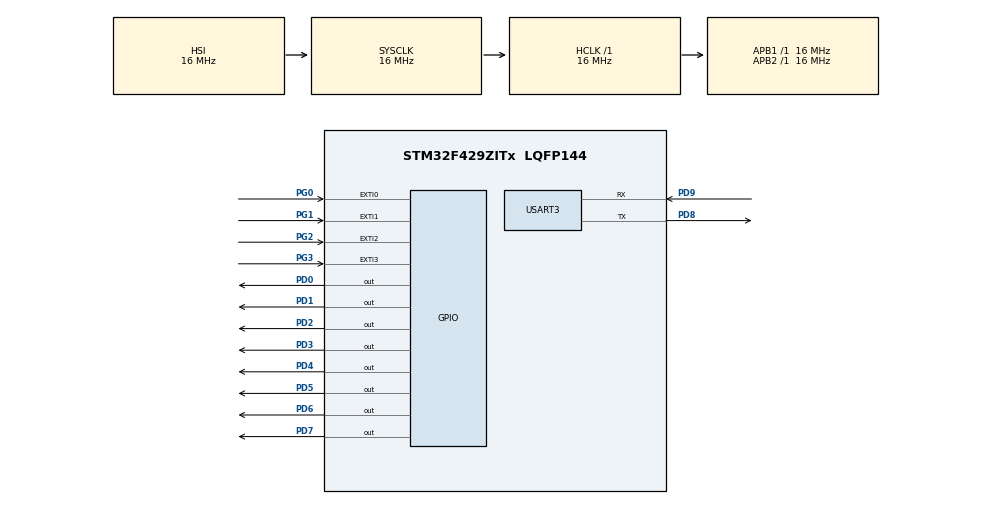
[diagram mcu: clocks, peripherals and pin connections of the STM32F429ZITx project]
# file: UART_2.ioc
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Mcu.Family=STM32F4
Mcu.Name=STM32F429ZITx
Mcu.Package=LQFP144
NVIC.EXTI0_IRQn=true\:0\:0\:false\:false\:true\:true\:true\:true
NVIC.EXTI1_IRQn=true\:0\:0\:false\:false\:true\:true\:true\:true
NVIC.EXTI2_IRQn=true\:0\:0\:false\:false\:true\:true\:true\:true
NVIC.EXTI3_IRQn=true\:0\:0\:false\:false\:true\:true\:true\:true
NVIC.PriorityGroup=NVIC_PRIORITYGROUP_4
NVIC.USART3_IRQn=true\:0\:0\:false\:false\:true\:true\:true\:true
PA13.Mode=Serial_Wire
PA13.Signal=SYS_JTMS-SWDIO
PA14.Mode=Serial_Wire
PA14.Signal=SYS_JTCK-SWCLK
PD0.GPIO_ModeDefaultOutputPP=GPIO_MODE_OUTPUT_PP
PD0.GPIO_PuPd=GPIO_PULLUP
PD0.GPIO_Speed=GPIO_SPEED_FREQ_HIGH
PD0.PinState=GPIO_PIN_RESET
PD0.Signal=GPIO_Output
PD1.GPIO_ModeDefaultOutputPP=GPIO_MODE_OUTPUT_PP
PD1.GPIO_PuPd=GPIO_PULLUP
PD1.GPIO_Speed=GPIO_SPEED_FREQ_HIGH
PD1.PinState=GPIO_PIN_RESET
PD1.Signal=GPIO_Output
PD2.GPIO_ModeDefaultOutputPP=GPIO_MODE_OUTPUT_PP
PD2.GPIO_PuPd=GPIO_PULLUP
PD2.GPIO_Speed=GPIO_SPEED_FREQ_HIGH
PD2.PinState=GPIO_PIN_RESET
PD2.Signal=GPIO_Output
PD3.GPIO_ModeDefaultOutputPP=GPIO_MODE_OUTPUT_PP
PD3.GPIO_PuPd=GPIO_PULLUP
PD3.GPIO_Speed=GPIO_SPEED_FREQ_HIGH
PD3.PinState=GPIO_PIN_RESET
PD3.Signal=GPIO_Output
PD4.GPIO_ModeDefaultOutputPP=GPIO_MODE_OUTPUT_PP
PD4.GPIO_PuPd=GPIO_PULLUP
PD4.GPIO_Speed=GPIO_SPEED_FREQ_HIGH
PD4.PinState=GPIO_PIN_RESET
PD4.Signal=GPIO_Output
PD5.GPIO_ModeDefaultOutputPP=GPIO_MODE_OUTPUT_PP
PD5.GPIO_PuPd=GPIO_PULLUP
PD5.GPIO_Speed=GPIO_SPEED_FREQ_HIGH
PD5.PinState=GPIO_PIN_RESET
PD5.Signal=GPIO_Output
PD6.GPIO_ModeDefaultOutputPP=GPIO_MODE_OUTPUT_PP
PD6.GPIO_PuPd=GPIO_PULLUP
PD6.GPIO_Speed=GPIO_SPEED_FREQ_HIGH
PD6.PinState=GPIO_PIN_RESET
PD6.Signal=GPIO_Output
PD7.GPIO_ModeDefaultOutputPP=GPIO_MODE_OUTPUT_PP
PD7.GPIO_PuPd=GPIO_PULLUP
PD7.GPIO_Speed=GPIO_SPEED_FREQ_HIGH
PD7.PinState=GPIO_PIN_RESET
PD7.Signal=GPIO_Output
PD8.Mode=Asynchronous
PD8.Signal=USART3_TX
PD9.Mode=Asynchronous
PD9.Signal=USART3_RX
PG0.GPIO_ModeDefaultEXTI=GPIO_MODE_IT_FALLING
PG0.GPIO_PuPd=GPIO_NOPULL
PG0.Signal=GPXTI0
PG1.GPIO_ModeDefaultEXTI=GPIO_MODE_IT_FALLING
PG1.GPIO_PuPd=GPIO_NOPULL
PG1.Signal=GPXTI1
PG2.GPIO_ModeDefaultEXTI=GPIO_MODE_IT_FALLING
PG2.GPIO_PuPd=GPIO_NOPULL
PG2.Signal=GPXTI2
PG3.GPIO_ModeDefaultEXTI=GPIO_MODE_IT_FALLING
PG3.GPIO_PuPd=GPIO_NOPULL
PG3.Signal=GPXTI3
ProjectManager.HeapSize=0x200
ProjectManager.StackSize=0x400
ProjectManager.TargetToolchain=STM32CubeIDE
RCC.AHBFreq_Value=16000000
RCC.APB1Freq_Value=16000000
RCC.APB2Freq_Value=16000000
RCC.CortexFreq_Value=16000000
RCC.HSE_VALUE=25000000
RCC.HSI_VALUE=16000000
RCC.LSE_VALUE=32768
RCC.SYSCLKFreq_VALUE=16000000
RCC.VCOOutputFreq_Value=192000000
USART3.VirtualMode=VM_ASYNC
board=custom

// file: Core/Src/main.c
/* USER CODE BEGIN Header */
/**
  ******************************************************************************
  * @file           : main.c
  * @brief          : Main program body
  ******************************************************************************
  * @attention
  *
  * Copyright (c) 2023 STMicroelectronics.
  * All rights reserved.
  *
  * This software is licensed under terms that can be found in the LICENSE file
  * in the root directory of this software component.
  * If no LICENSE file comes with this software, it is provided AS-IS.
  *
  ******************************************************************************
  */
/* USER CODE END Header */
#include "main.h"

/* USER CODE BEGIN PD */

#define TxBufferSize (countof(TxBuffer) - 1)
#define TxBufferSize_2 (countof(TxBuffer_2) - 1)
#define TxBufferSize_3 (countof(TxBuffer_3) - 1)
#define TxBufferSize_4 (countof(TxBuffer_4) - 1)
#define TxBufferSize_5 (countof(TxBuffer_5) - 1)
#define RxBufferSize 0xFF
#define countof(a) (sizeof(a) / sizeof(*(a)))

/* USER CODE END PD */

UART_HandleTypeDef huart3;

/* USER CODE BEGIN PV */

uint8_t TxBuffer[] = "\n\rUART Example 2 (Transmission Success !!)\n\r\n\r";
uint8_t TxBuffer_2[] = "\n\r Button1 is pressed !! \n\r";
uint8_t TxBuffer_3[] = "\n\r Button2 is pressed !! \n\r";
uint8_t TxBuffer_4[] = "\n\r Button3 is pressed !! \n\r";
uint8_t TxBuffer_5[] = "\n\r Button4 is pressed !! \n\r";
uint8_t RxBuffer[RxBufferSize];

/* USER CODE END PV */

void SystemClock_Config(void);
static void MX_GPIO_Init(void);
static void MX_USART3_UART_Init(void);
/* USER CODE BEGIN PFP */

void LED_OnOff(int, int);

/* USER CODE END PFP */

int main(void)
{

  /* MCU Configuration--------------------------------------------------------*/

  /* Reset of all peripherals, Initializes the Flash interface and the Systick. */
  HAL_Init();

  /* Configure the system clock */
  SystemClock_Config();

  /* Initialize all configured peripherals */
  MX_GPIO_Init();
  MX_USART3_UART_Init();
  /* USER CODE BEGIN 2 */

  LED_OnOff(LED_ALL, 500);
  HAL_UART_Transmit(&huart3, (uint8_t*)TxBuffer, TxBufferSize, 0xFFFF);

  /* USER CODE END 2 */

  /* Infinite loop */
  while (1)
  {

  }
}

void SystemClock_Config(void)
{
  RCC_OscInitTypeDef RCC_OscInitStruct = {0};
  RCC_ClkInitTypeDef RCC_ClkInitStruct = {0};

  /** Configure the main internal regulator output voltage
  */
  __HAL_RCC_PWR_CLK_ENABLE();
  __HAL_PWR_VOLTAGESCALING_CONFIG(PWR_REGULATOR_VOLTAGE_SCALE3);

  /** Initializes the RCC Oscillators according to the specified parameters
  * in the RCC_OscInitTypeDef structure.
  */
  RCC_OscInitStruct.OscillatorType = RCC_OSCILLATORTYPE_HSI;
  RCC_OscInitStruct.HSIState = RCC_HSI_ON;
  RCC_OscInitStruct.HSICalibrationValue = RCC_HSICALIBRATION_DEFAULT;
  RCC_OscInitStruct.PLL.PLLState = RCC_PLL_NONE;
  if (HAL_RCC_OscConfig(&RCC_OscInitStruct) != HAL_OK)
  {
    Error_Handler();
  }

  /** Initializes the CPU, AHB and APB buses clocks
  */
  RCC_ClkInitStruct.ClockType = RCC_CLOCKTYPE_HCLK|RCC_CLOCKTYPE_SYSCLK
                              |RCC_CLOCKTYPE_PCLK1|RCC_CLOCKTYPE_PCLK2;
  RCC_ClkInitStruct.SYSCLKSource = RCC_SYSCLKSOURCE_HSI;
  RCC_ClkInitStruct.AHBCLKDivider = RCC_SYSCLK_DIV1;
  RCC_ClkInitStruct.APB1CLKDivider = RCC_HCLK_DIV1;
  RCC_ClkInitStruct.APB2CLKDivider = RCC_HCLK_DIV1;

  if (HAL_RCC_ClockConfig(&RCC_ClkInitStruct, FLASH_LATENCY_0) != HAL_OK)
  {
    Error_Handler();
  }
}

static void MX_USART3_UART_Init(void)
{

  huart3.Instance = USART3;
  huart3.Init.BaudRate = 115200;
  huart3.Init.WordLength = UART_WORDLENGTH_8B;
  huart3.Init.StopBits = UART_STOPBITS_1;
  huart3.Init.Parity = UART_PARITY_NONE;
  huart3.Init.Mode = UART_MODE_TX_RX;
  huart3.Init.HwFlowCtl = UART_HWCONTROL_NONE;
  huart3.Init.OverSampling = UART_OVERSAMPLING_16;
  if (HAL_UART_Init(&huart3) != HAL_OK)
  {
    Error_Handler();
  }

}

static void MX_GPIO_Init(void)
{
  GPIO_InitTypeDef GPIO_InitStruct = {0};

  /* GPIO Ports Clock Enable */
  __HAL_RCC_GPIOG_CLK_ENABLE();
  __HAL_RCC_GPIOD_CLK_ENABLE();
  __HAL_RCC_GPIOA_CLK_ENABLE();

  /*Configure GPIO pin Output Level */
  HAL_GPIO_WritePin(GPIOD, GPIO_PIN_0|GPIO_PIN_1|GPIO_PIN_2|GPIO_PIN_3
                          |GPIO_PIN_4|GPIO_PIN_5|GPIO_PIN_6|GPIO_PIN_7, GPIO_PIN_RESET);

  /*Configure GPIO pins : PG0 PG1 PG2 PG3 */
  GPIO_InitStruct.Pin = GPIO_PIN_0|GPIO_PIN_1|GPIO_PIN_2|GPIO_PIN_3;
  GPIO_InitStruct.Mode = GPIO_MODE_IT_FALLING;
  GPIO_InitStruct.Pull = GPIO_NOPULL;
  HAL_GPIO_Init(GPIOG, &GPIO_InitStruct);

  /*Configure GPIO pins : PD0 PD1 PD2 PD3
                           PD4 PD5 PD6 PD7 */
  GPIO_InitStruct.Pin = GPIO_PIN_0|GPIO_PIN_1|GPIO_PIN_2|GPIO_PIN_3
                          |GPIO_PIN_4|GPIO_PIN_5|GPIO_PIN_6|GPIO_PIN_7;
  GPIO_InitStruct.Mode = GPIO_MODE_OUTPUT_PP;
  GPIO_InitStruct.Pull = GPIO_PULLUP;
  GPIO_InitStruct.Speed = GPIO_SPEED_FREQ_HIGH;
  HAL_GPIO_Init(GPIOD, &GPIO_InitStruct);

  /* EXTI interrupt init*/
  HAL_NVIC_SetPriority(EXTI0_IRQn, 0, 0);
  HAL_NVIC_EnableIRQ(EXTI0_IRQn);

  HAL_NVIC_SetPriority(EXTI1_IRQn, 0, 0);
  HAL_NVIC_EnableIRQ(EXTI1_IRQn);

  HAL_NVIC_SetPriority(EXTI2_IRQn, 0, 0);
  HAL_NVIC_EnableIRQ(EXTI2_IRQn);

  HAL_NVIC_SetPriority(EXTI3_IRQn, 0, 0);
  HAL_NVIC_EnableIRQ(EXTI3_IRQn);

}

/* USER CODE BEGIN 4 */

void LED_OnOff(int led, int interval)
{
	HAL_GPIO_WritePin(GPIO_LED, led, GPIO_PIN_SET );
	HAL_GPIO_WritePin(GPIO_LED_Nucleo, led, GPIO_PIN_SET );
	HAL_Delay(interval);
	HAL_GPIO_WritePin(GPIO_LED, led, GPIO_PIN_RESET );
	HAL_GPIO_WritePin(GPIO_LED_Nucleo, led, GPIO_PIN_RESET );
}
void HAL_GPIO_EXTI_Callback(uint16_t GPIO_Pin)
{
	switch(GPIO_Pin)
	{
		case GPIO_PIN_0:
			HAL_UART_Transmit(&huart3, (uint8_t*)TxBuffer_2, TxBufferSize_2 , 0xFFFF);
		break;

		case GPIO_PIN_1:
			HAL_UART_Transmit(&huart3, (uint8_t*)TxBuffer_3, TxBufferSize_3 , 0xFFFF);
		break;
		case GPIO_PIN_2:
			HAL_UART_Transmit(&huart3, (uint8_t*)TxBuffer_4, TxBufferSize_4 , 0xFFFF);
		break;
		case GPIO_PIN_3:
			HAL_UART_Transmit(&huart3, (uint8_t*)TxBuffer_5, TxBufferSize_5 , 0xFFFF);
		break;
	}
}

/* USER CODE END 4 */

void Error_Handler(void)
{
  __disable_irq();
  while (1)
  {
  }
}
